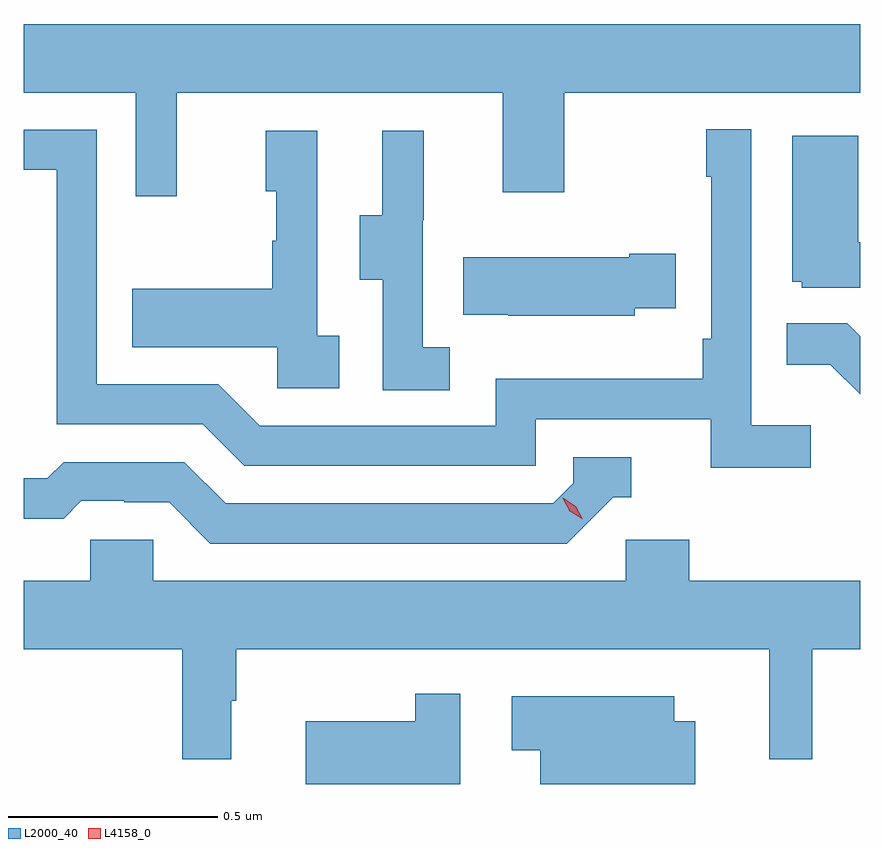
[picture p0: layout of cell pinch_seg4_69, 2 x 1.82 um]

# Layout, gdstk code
import gdstk
lib = gdstk.Library(unit=1e-6, precision=1e-09)
def P(c, l, *ps):  # polygons
    for p in ps: c.add(gdstk.Polygon(p, *l))
L2000_40 = (2000, 40)
L4158_0 = (4158, 0)

pinch_seg4_69 = lib.new_cell('pinch_seg4_69')
P(pinch_seg4_69, L2000_40, [(1037.964,816.8),(1038.231,816.8),(1038.231,816.552),(1038.329,816.552),(1038.329,816.8),(1039.109,816.8),(1039.109,816.561),(1039.257,816.561),(1039.257,816.8),(1039.964,816.8),(1039.964,816.964),(1037.964,816.964)],
  [(1039.846,816.004),(1039.704,816.004),(1039.704,816.712),(1039.596,816.712),(1039.596,816.599),(1039.608,816.599),(1039.608,816.211),(1039.588,816.211),(1039.588,816.115),(1039.092,816.115),(1039.092,816.003),(1038.528,816.003),(1038.429,816.102),(1038.138,816.102),(1038.138,816.711),(1037.964,816.711),(1037.964,816.615),(1038.042,816.615),(1038.042,816.006),(1038.392,816.006),(1038.491,815.907),(1039.188,815.907),(1039.188,816.018),(1039.607,816.018),(1039.607,815.902),(1039.846,815.902)],
  [(1038.718,816.218),(1038.666,816.218),(1038.666,816.709),(1038.542,816.709),(1038.542,816.564),(1038.568,816.564),(1038.568,816.446),(1038.558,816.446),(1038.558,816.331),(1038.223,816.331),(1038.223,816.191),(1038.57,816.191),(1038.57,816.093),(1038.718,816.093)],
  [(1038.982,816.191),(1038.918,816.191),(1038.918,816.495),(1038.92,816.495),(1038.92,816.709),(1038.821,816.709),(1038.821,816.507),(1038.767,816.507),(1038.767,816.352),(1038.822,816.352),(1038.822,816.088),(1038.982,816.088)],
  [(1039.964,816.442),(1039.96,816.442),(1039.96,816.697),(1039.802,816.697),(1039.802,816.348),(1039.824,816.348),(1039.824,816.333),(1039.964,816.333)],
  [(1039.425,816.284),(1039.523,816.284),(1039.523,816.414),(1039.412,816.414),(1039.412,816.406),(1039.015,816.406),(1039.015,816.269),(1039.123,816.269),(1039.123,816.266),(1039.425,816.266)],
  [(1039.964,816.217),(1039.933,816.248),(1039.789,816.248),(1039.789,816.149),(1039.893,816.149),(1039.964,816.078)],
  [(1039.374,815.832),(1039.417,815.832),(1039.417,815.928),(1039.278,815.928),(1039.278,815.865),(1039.23,815.817),(1038.447,815.817),(1038.348,815.916),(1038.059,815.916),(1038.02,815.877),(1037.964,815.877),(1037.964,815.781),(1038.059,815.781),(1038.101,815.823),(1038.204,815.823),(1038.204,815.82),(1038.311,815.82),(1038.41,815.721),(1039.263,815.721)],
  [(1038.46,815.345),(1038.472,815.345),(1038.472,815.468),(1039.747,815.468),(1039.747,815.205),(1039.85,815.205),(1039.85,815.468),(1039.964,815.468),(1039.964,815.632),(1039.555,815.632),(1039.555,815.73),(1039.404,815.73),(1039.404,815.632),(1038.273,815.632),(1038.273,815.73),(1038.123,815.73),(1038.123,815.632),(1037.964,815.632),(1037.964,815.468),(1038.343,815.468),(1038.343,815.205),(1038.46,815.205)],
  [(1039.008,815.362),(1038.9,815.362),(1038.9,815.296),(1038.638,815.296),(1038.638,815.146),(1039.008,815.146)],
  [(1039.57,815.296),(1039.519,815.296),(1039.519,815.356),(1039.131,815.356),(1039.131,815.227),(1039.199,815.227),(1039.199,815.146),(1039.57,815.146)])
P(pinch_seg4_69, L4158_0, [(1039.301,815.779),(1039.27,815.798),(1039.253,815.83),(1039.253,815.831),(1039.253,815.831),(1039.284,815.811),(1039.301,815.779),(1039.301,815.779)])

lib.write_gds('pinch_seg4_69.gds')
